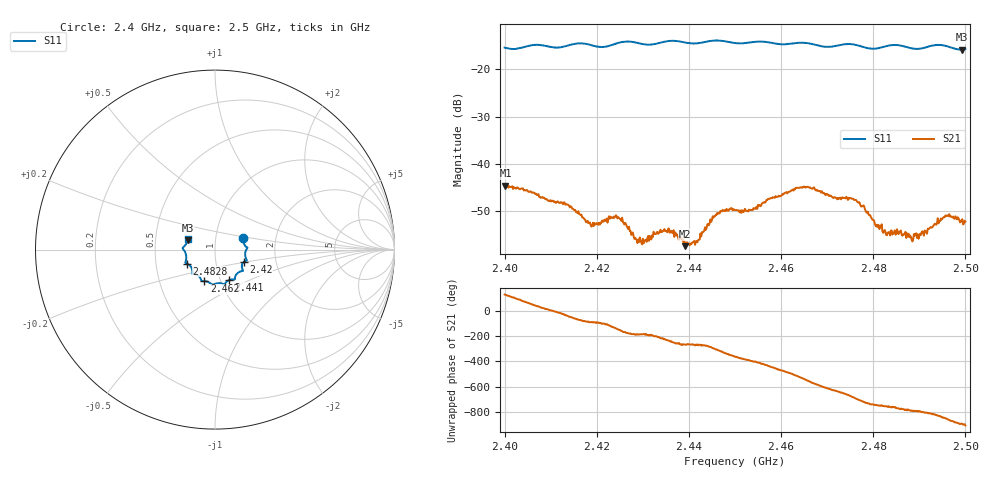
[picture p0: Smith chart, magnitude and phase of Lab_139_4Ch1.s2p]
# Hz S RI R 50
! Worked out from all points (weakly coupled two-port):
!   601 points, 2.4 GHz to 2.5 GHz, reference 50 ohm
!   highest |S21| = -44.55 dB at 2.4002 GHz (marker M1); lowest = -57.3 dB at 2.4392 GHz (marker M2)
!   lowest |S11| = -15.9 dB at 2.4993 GHz (marker M3), VSWR 1.38, Z = 36.6 + j3.84 ohm
!   |S11| at or under -10 dB: start of sweep to end of sweep
!   S12 and S22 are empty: the file has one direction only
!   S11 on the Smith chart (normalised r, x): 2.4 GHz: 1.36, +0.18; 2.42 GHz: 1.36, -0.20; 2.441 GHz: 1.10, -0.39; 2.462 GHz: 0.84, -0.30; 2.4828 GHz: 0.72, -0.12; 2.5 GHz: 0.73, +0.09
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2.4e9  0.1571 0.063  -0.00353 0.00471  0 0  0 0
2.400167e9  0.157 0.0613  -0.00331 0.00491  0 0  0 0
2.413333e9  0.1704 -0.0429  0.00306 -0.00222  0 0  0 0
2.416667e9  0.1778 -0.06  0.000635 -0.00286  0 0  0 0
2.42e9  0.1594 -0.0694  -6.92e-05 -0.00238  0 0  0 0
2.4245e9  0.1533 -0.11  -0.0022 -0.00151  0 0  0 0
2.429333e9  0.1427 -0.1216  -0.00166 0.00023  0 0  0 0
2.433333e9  0.1124 -0.1509  -0.00162 0.00085  0 0  0 0
2.436167e9  0.11 -0.1665  -0.000968 0.00172  0 0  0 0
2.439167e9  0.0964 -0.1656  -6.31e-05 0.00136  0 0  0 0
2.441e9  0.0786 -0.1697  -3.17e-05 0.0015  0 0  0 0
2.445667e9  0.0517 -0.1944  0.0015 0.00237  0 0  0 0
2.45e9  0.0286 -0.187  0.00324 -0.000284  0 0  0 0
2.462e9  -0.0602 -0.1755  -0.00358 -0.00368  0 0  0 0
2.466667e9  -0.0776 -0.1681  -0.00485 0.0026  0 0  0 0
2.4765e9  -0.1259 -0.1279  0.0037 0.00153  0 0  0 0
2.482833e9  -0.1576 -0.0774  0.00148 -0.000992  0 0  0 0
2.483333e9  -0.1606 -0.0763  0.00159 -0.00106  0 0  0 0
2.49e9  -0.163 -0.0234  0.000562 -0.00165  0 0  0 0
2.496e9  -0.1742 0.0154  -0.00198 -0.00206  0 0  0 0
2.499333e9  -0.1528 0.0511  -0.00259 -0.000341  0 0  0 0
2.5e9  -0.1516 0.0607  -0.00246 0.000217  0 0  0 0
